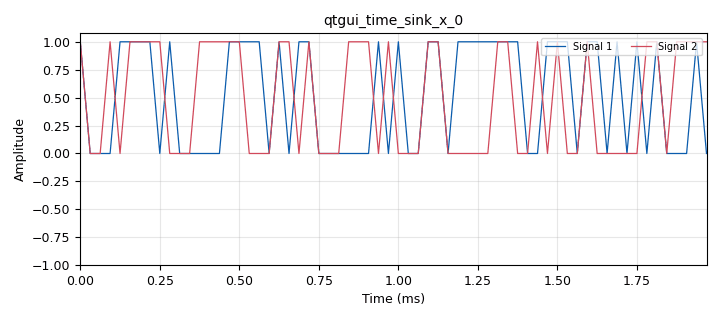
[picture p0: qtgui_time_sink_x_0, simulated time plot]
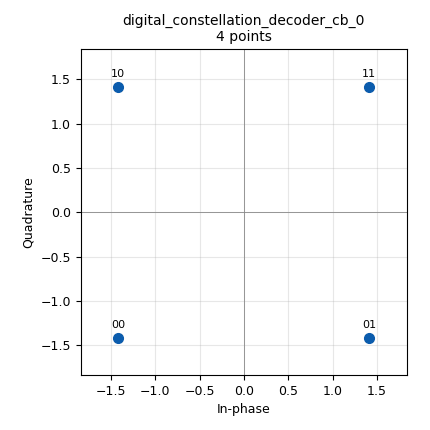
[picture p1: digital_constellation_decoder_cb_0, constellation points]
options:
  parameters:
    author: Juan Gerez Jimenez
    generate_options: qt_gui
    id: integrador_2026_v2
    output_language: python
    title: Not titled yet
  states: {}

blocks:
- name: noise_var
  id: variable_qtgui_range
  parameters:
    label: Nivel de Ruido
    start: '0'
    step: '0.05'
    stop: '1'
    value: '0.2'
  states: {}
- name: qam4
  id: variable_constellation
  parameters:
    precision: '8'
    type: qpsk
  states: {}
- name: retraso
  id: variable_qtgui_range
  parameters:
    start: '0'
    step: '1'
    stop: '200'
    value: '52'
  states: {}
- name: samp_rate
  id: variable
  parameters:
    value: '32000'
  states: {}
- name: blocks_char_to_float_0
  id: blocks_char_to_float
  parameters:
    scale: '1'
  states: {}
- name: blocks_char_to_float_0_0
  id: blocks_char_to_float
  parameters:
    scale: '1'
  states: {}
- name: blocks_delay_0
  id: blocks_delay
  parameters:
    delay: retraso
    type: byte
  states: {}
- name: blocks_pack_k_bits_bb_0
  id: blocks_pack_k_bits_bb
  parameters:
    k: '8'
  states: {}
- name: blocks_throttle2_0
  id: blocks_throttle2
  parameters:
    samples_per_second: samp_rate
    type: byte
  states: {}
- name: blocks_unpack_k_bits_bb_0
  id: blocks_unpack_k_bits_bb
  parameters:
    k: '2'
  states: {}
- name: channels_channel_model_0
  id: channels_channel_model
  parameters:
    epsilon: '1.0'
    freq_offset: '0.0'
    noise_voltage: noise_var
    seed: '0'
    taps: '1.0'
  states: {}
- name: digital_constellation_decoder_cb_0
  id: digital_constellation_decoder_cb
  parameters:
    constellation: qam4
  states: {}
- name: digital_constellation_modulator_0
  id: digital_constellation_modulator
  parameters:
    constellation: qam4
    differential: 'True'
    excess_bw: '0.35'
    samples_per_symbol: '4'
  states: {}
- name: digital_costas_loop_cc_0
  id: digital_costas_loop_cc
  parameters:
    order: '4'
    w: '0.0628'
  states: {}
- name: digital_diff_decoder_bb_0
  id: digital_diff_decoder_bb
  parameters:
    coding: digital.DIFF_DIFFERENTIAL
    modulus: '4'
  states: {}
- name: digital_glfsr_source_x_0
  id: digital_glfsr_source_x
  parameters:
    degree: '15'
    mask: '0'
    repeat: 'True'
    seed: '1'
    type: byte
  states: {}
- name: digital_map_bb_0
  id: digital_map_bb
  parameters:
    map: '[0, 1, 3, 2]'
  states: {}
- name: digital_symbol_sync_xx_0
  id: digital_symbol_sync_xx
  parameters:
    constellation: qam4.base()
    damping: '1.0'
    loop_bw: '0.045'
    max_dev: '1.5'
    osps: '1'
    resamp_type: digital.IR_MMSE_8TAP
    sps: '4'
    ted_gain: '1.0'
    ted_type: digital.TED_MUELLER_AND_MULLER
    type: cc
  states: {}
- name: fec_ber_bf_0
  id: fec_ber_bf
  parameters:
    test_mode: 'False'
  states: {}
- name: qtgui_number_sink_0
  id: qtgui_number_sink
  parameters:
    graph_type: qtgui.NUM_GRAPH_HORIZ
    max: '0'
    min: '-7'
    name: '"Tasa de Error (Log10 BER)"'
    type: float
  states: {}
- name: qtgui_time_sink_x_0
  id: qtgui_time_sink_x
  parameters:
    nconnections: '2'
    size: '64'
    srate: samp_rate
    type: float
  states: {}

connections:
- [blocks_char_to_float_0, '0', qtgui_time_sink_x_0, '0']
- [blocks_char_to_float_0_0, '0', qtgui_time_sink_x_0, '1']
- [blocks_delay_0, '0', fec_ber_bf_0, '1']
- [blocks_pack_k_bits_bb_0, '0', digital_constellation_modulator_0, '0']
- [blocks_throttle2_0, '0', blocks_delay_0, '0']
- [blocks_throttle2_0, '0', blocks_pack_k_bits_bb_0, '0']
- [blocks_unpack_k_bits_bb_0, '0', blocks_char_to_float_0_0, '0']
- [blocks_unpack_k_bits_bb_0, '0', fec_ber_bf_0, '0']
- [channels_channel_model_0, '0', digital_symbol_sync_xx_0, '0']
- [digital_constellation_decoder_cb_0, '0', digital_diff_decoder_bb_0, '0']
- [digital_constellation_modulator_0, '0', channels_channel_model_0, '0']
- [digital_costas_loop_cc_0, '0', digital_constellation_decoder_cb_0, '0']
- [digital_diff_decoder_bb_0, '0', digital_map_bb_0, '0']
- [digital_glfsr_source_x_0, '0', blocks_char_to_float_0, '0']
- [digital_glfsr_source_x_0, '0', blocks_throttle2_0, '0']
- [digital_map_bb_0, '0', blocks_unpack_k_bits_bb_0, '0']
- [digital_symbol_sync_xx_0, '0', digital_costas_loop_cc_0, '0']
- [fec_ber_bf_0, '0', qtgui_number_sink_0, '0']

metadata:
  file_format: 1
  grc_version: 3.10.12.0
